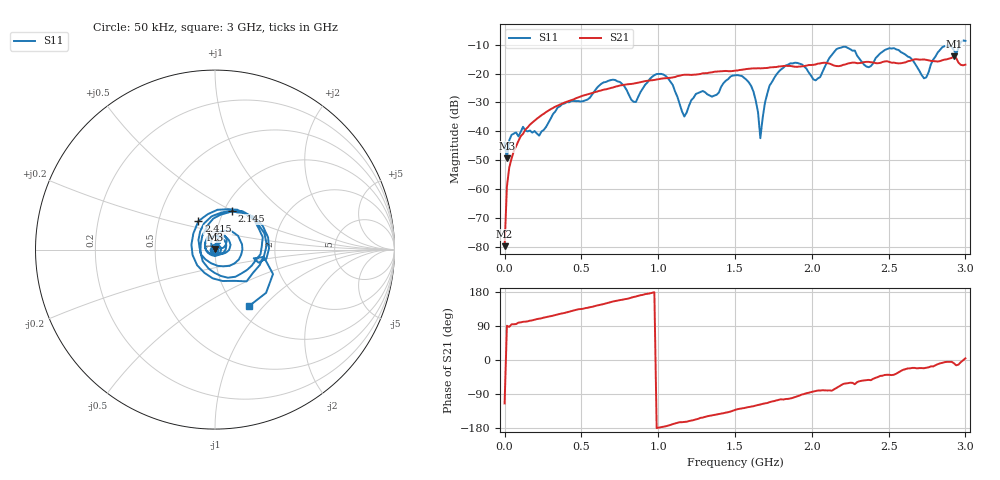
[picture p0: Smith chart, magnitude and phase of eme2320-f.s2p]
!File created by NanoVNA-F V2
# Hz S RI R 50
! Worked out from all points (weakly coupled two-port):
!   201 points, 50 kHz to 3 GHz, reference 50 ohm
!   highest |S21| = -14.00 dB at 2.925 GHz (marker M1); lowest = -79.7 dB at 50 kHz (marker M2)
!   lowest |S11| = -49.4 dB at 15.05 MHz (marker M3), VSWR 1.01, Z = 50 + j0.338 ohm
!   |S11| at or under -10 dB: start of sweep to 2.964 GHz
!   S12 and S22 are empty: the file has one direction only
!   S11 on the Smith chart (normalised r, x): 50 kHz: 0.99, -0.01; 2.145 GHz: 1.09, +0.50; 2.415 GHz: 0.79, +0.26; 3 GHz: 1.15, -0.83
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50000  -0.00544 -0.0033  -4.3e-05 -9.4e-05  0 0  0 0
1.504975e7  0.000301 0.00338  -6e-06 0.00111  0 0  0 0
4.504925e7  0.00653 0.00571  -0.000242 0.00337  0 0  0 0
1.350478e8  0.00985 -0.00313  -0.00208 0.0105  0 0  0 0
5.100415e8  0.0123 -0.0308  -0.0293 0.0292  0 0  0 0
7.050382e8  0.0228 0.0747  -0.0517 0.0248  0 0  0 0
8.550358e8  -0.018 -0.0267  -0.0665 0.0146  0 0  0 0
1.005033e9  0.0262 0.0949  -0.08 -0.00245  0 0  0 0
1.17003e9  0.0121 0.0134  -0.0912 -0.0272  0 0  0 0
1.500025e9  0.0676 0.0641  -0.0747 -0.0835  0 0  0 0
1.620023e9  0.0428 -0.0235  -0.0649 -0.1043  0 0  0 0
1.665022e9  -0.00291 -0.00704  -0.0566 -0.109  0 0  0 0
1.710022e9  -0.0218 0.039  -0.0498 -0.1145  0 0  0 0
1.78502e9  0.0339 0.1023  -0.0347 -0.1275  0 0  0 0
2.010016e9  -0.0213 -0.0763  0.0168 -0.1402  0 0  0 0
2.145014e9  0.0932 0.2162  0.0297 -0.1338  0 0  0 0
2.280012e9  0.1762 -0.1768  0.0678 -0.1385  0 0  0 0
2.41501e9  -0.0923 0.1589  0.103 -0.1107  0 0  0 0
2.505008e9  0.2195 0.1637  0.1224 -0.0998  0 0  0 0
2.730004e9  -0.0814 -0.0142  0.1627 -0.0648  0 0  0 0
2.925001e9  0.2427 -0.0727  0.1973 -0.0296  0 0  0 0
3e9  0.192 -0.3128  0.1417 0.0108  0 0  0 0
